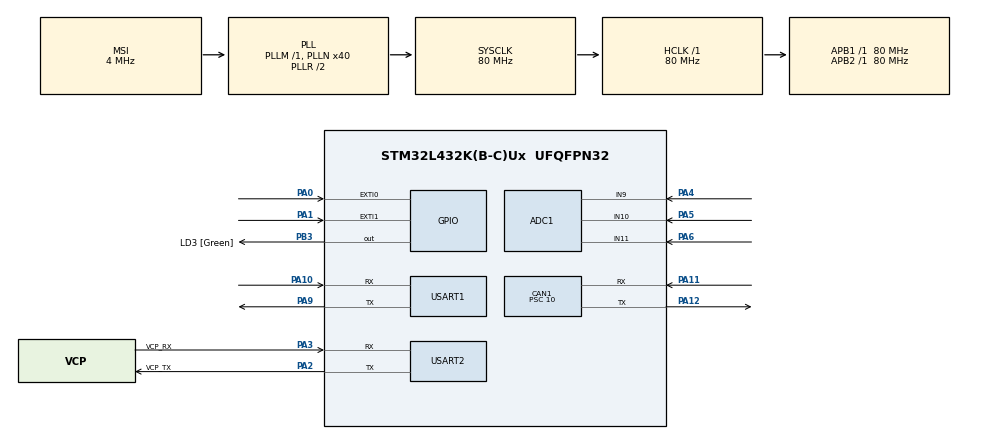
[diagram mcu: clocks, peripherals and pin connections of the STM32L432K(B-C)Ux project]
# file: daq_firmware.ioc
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ADC1.Channel-0\#ChannelRegularConversion=ADC_CHANNEL_9
ADC1.NbrOfConversionFlag=1
ADC1.OffsetNumber-0\#ChannelRegularConversion=ADC_OFFSET_NONE
ADC1.Rank-0\#ChannelRegularConversion=1
ADC1.SamplingTime-0\#ChannelRegularConversion=ADC_SAMPLETIME_2CYCLES_5
ADC1.master=1
CAN1.BS1=CAN_BS1_13TQ
CAN1.BS2=CAN_BS2_2TQ
CAN1.CalculateBaudRate=500000
CAN1.CalculateTimeBit=2000
CAN1.CalculateTimeQuantum=125.0
CAN1.Prescaler=10
FREERTOS.Tasks01=LED_Blink,24,128,LED_BlinkTask,Default,NULL,Static,LED_BlinkBuffer,LED_BlinkControlBlock;CAN_Manager,40,128,CAN_ManagerTask,As external,NULL,Static,CAN_ManagerBuffer,CAN_ManagerControlBlock;Sensor_Manager,40,256,Sensor_ManagerTask,As external,NULL,Static,Sensor_ManagerBuffer,Sensor_ManagerControlBlock;Interrupt_Manager,40,128,Interrupt_ManagerTask,As external,NULL,Static,Interrupt_ManagerBuffer,Interrupt_ManagerControlBlock
FREERTOS.configCHECK_FOR_STACK_OVERFLOW=0
FREERTOS.configMAX_TASK_NAME_LEN=32
FREERTOS.configTOTAL_HEAP_SIZE=3000
Mcu.Family=STM32L4
Mcu.Name=STM32L432K(B-C)Ux
Mcu.Package=UFQFPN32
NVIC.CAN1_RX0_IRQn=true\:5\:0\:false\:false\:true\:true\:true\:true\:true
NVIC.CAN1_RX1_IRQn=true\:5\:0\:false\:false\:true\:true\:true\:true\:true
NVIC.EXTI0_IRQn=true\:5\:0\:true\:false\:true\:true\:true\:true\:true
NVIC.EXTI1_IRQn=true\:5\:0\:true\:false\:true\:true\:true\:true\:true
NVIC.PriorityGroup=NVIC_PRIORITYGROUP_4
NVIC.TIM6_DAC_IRQn=true\:15\:0\:false\:false\:true\:false\:false\:true\:true
NVIC.TimeBase=TIM6_DAC_IRQn
NVIC.TimeBaseIP=TIM6
NVIC.USART1_IRQn=true\:5\:0\:false\:false\:true\:true\:true\:true\:true
PA0.GPIO_ModeDefaultEXTI=GPIO_MODE_IT_FALLING
PA0.Signal=GPXTI0
PA1.GPIO_ModeDefaultEXTI=GPIO_MODE_IT_FALLING
PA1.Signal=GPXTI1
PA10.Mode=Asynchronous
PA10.Signal=USART1_RX
PA11.Mode=CAN_Activate
PA11.Signal=CAN1_RX
PA12.Mode=CAN_Activate
PA12.Signal=CAN1_TX
PA13\ (JTMS-SWDIO).GPIO_Label=SWDIO
PA13\ (JTMS-SWDIO).Mode=Serial_Wire
PA13\ (JTMS-SWDIO).Signal=SYS_JTMS-SWDIO
PA14\ (JTCK-SWCLK).GPIO_Label=SWCLK
PA14\ (JTCK-SWCLK).Mode=Serial_Wire
PA14\ (JTCK-SWCLK).Signal=SYS_JTCK-SWCLK
PA2.GPIO_Label=VCP_TX
PA2.Mode=Asynchronous
PA2.Signal=USART2_TX
PA3.GPIO_Label=VCP_RX
PA3.Mode=Asynchronous
PA3.Signal=USART2_RX
PA4.Signal=ADCx_IN9
PA5.Signal=ADCx_IN10
PA6.Signal=ADCx_IN11
PA9.Mode=Asynchronous
PA9.Signal=USART1_TX
PB3\ (JTDO-TRACESWO).GPIO_Label=LD3 [Green]
PB3\ (JTDO-TRACESWO).Signal=GPIO_Output
PC14-OSC32_IN\ (PC14).Mode=LSE-External-Oscillator
PC14-OSC32_IN\ (PC14).Signal=RCC_OSC32_IN
PC15-OSC32_OUT\ (PC15).Mode=LSE-External-Oscillator
PC15-OSC32_OUT\ (PC15).Signal=RCC_OSC32_OUT
ProjectManager.HeapSize=0x200
ProjectManager.StackSize=0x400
ProjectManager.TargetToolchain=Makefile
RCC.ADCFreq_Value=8000000
RCC.AHBFreq_Value=80000000
RCC.APB1Freq_Value=80000000
RCC.APB1TimFreq_Value=80000000
RCC.APB2Freq_Value=80000000
RCC.APB2TimFreq_Value=80000000
RCC.CortexFreq_Value=80000000
RCC.HCLKFreq_Value=80000000
RCC.HSE_VALUE=8000000
RCC.HSI16_VALUE=16000000
RCC.HSI48_VALUE=48000000
RCC.HSI_VALUE=16000000
RCC.MSI_VALUE=4000000
RCC.PLLMUL=RCC_PLLMUL_4
RCC.PLLN=40
RCC.PLLSAI1N=16
RCC.PLLSAI1R=RCC_PLLR_DIV8
RCC.SYSCLKFreq_VALUE=80000000
RCC.SYSCLKSource=RCC_SYSCLKSOURCE_PLLCLK
RCC.USBFreq_Value=32000000
RCC.VCOOutputFreq_Value=160000000
SH.ADCx_IN10.0=ADC1_IN10,IN10-Single-Ended
SH.ADCx_IN11.0=ADC1_IN11,IN11-Single-Ended
SH.ADCx_IN9.0=ADC1_IN9,IN9-Single-Ended
TIM16.Period=1023
TIM16.Prescaler=2
TIM2.Prescaler=79
USART1.VirtualMode-Asynchronous=VM_ASYNC
USART2.VirtualMode-Asynchronous=VM_ASYNC
VP_FREERTOS_VS_CMSIS_V2.Mode=CMSIS_V2
VP_SYS_VS_tim6.Mode=TIM6
VP_TIM16_VS_ClockSourceINT.Mode=Enable_Timer
VP_TIM2_VS_ClockSourceINT.Mode=Internal
board=NUCLEO-L432KC

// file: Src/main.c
/* USER CODE BEGIN Header */
/**
  ******************************************************************************
  * @file           : main.c
  * @brief          : Main program body
  ******************************************************************************
  * @attention
  *
  * Copyright (c) 2026 STMicroelectronics.
  * All rights reserved.
  *
  * This software is licensed under terms that can be found in the LICENSE file
  * in the root directory of this software component.
  * If no LICENSE file comes with this software, it is provided AS-IS.
  *
  ******************************************************************************
  */
/* USER CODE END Header */
#include "main.h"
#include "cmsis_os.h"

/* USER CODE BEGIN Includes */
#include "managers/can_manager.h"
#include "managers/interrupt_manager.h"
#include "managers/config_manager.h"
#include "managers/pwm_manager.h"
#include "ride_height.h"
/* USER CODE END Includes */

typedef StaticTask_t osStaticThreadDef_t;

ADC_HandleTypeDef hadc1;

CAN_HandleTypeDef hcan1;

TIM_HandleTypeDef htim2;
TIM_HandleTypeDef htim16;

UART_HandleTypeDef huart1;
UART_HandleTypeDef huart2;

/* Definitions for LED_Blink */
osThreadId_t LED_BlinkHandle;
uint32_t LED_BlinkBuffer[ 128 ];
osStaticThreadDef_t LED_BlinkControlBlock;
const osThreadAttr_t LED_Blink_attributes = {
  .name = "LED_Blink",
  .cb_mem = &LED_BlinkControlBlock,
  .cb_size = sizeof(LED_BlinkControlBlock),
  .stack_mem = &LED_BlinkBuffer[0],
  .stack_size = sizeof(LED_BlinkBuffer),
  .priority = (osPriority_t) osPriorityNormal,
};
/* Definitions for CAN_Manager */
osThreadId_t CAN_ManagerHandle;
uint32_t CAN_ManagerBuffer[ 128 ];
osStaticThreadDef_t CAN_ManagerControlBlock;
const osThreadAttr_t CAN_Manager_attributes = {
  .name = "CAN_Manager",
  .cb_mem = &CAN_ManagerControlBlock,
  .cb_size = sizeof(CAN_ManagerControlBlock),
  .stack_mem = &CAN_ManagerBuffer[0],
  .stack_size = sizeof(CAN_ManagerBuffer),
  .priority = (osPriority_t) osPriorityHigh,
};
/* Definitions for Sensor_Manager */
osThreadId_t Sensor_ManagerHandle;
uint32_t Sensor_ManagerBuffer[ 256 ];
osStaticThreadDef_t Sensor_ManagerControlBlock;
const osThreadAttr_t Sensor_Manager_attributes = {
  .name = "Sensor_Manager",
  .cb_mem = &Sensor_ManagerControlBlock,
  .cb_size = sizeof(Sensor_ManagerControlBlock),
  .stack_mem = &Sensor_ManagerBuffer[0],
  .stack_size = sizeof(Sensor_ManagerBuffer),
  .priority = (osPriority_t) osPriorityHigh,
};
/* Definitions for Interrupt_Manager */
osThreadId_t Interrupt_ManagerHandle;
uint32_t Interrupt_ManagerBuffer[ 128 ];
osStaticThreadDef_t Interrupt_ManagerControlBlock;
const osThreadAttr_t Interrupt_Manager_attributes = {
  .name = "Interrupt_Manager",
  .cb_mem = &Interrupt_ManagerControlBlock,
  .cb_size = sizeof(Interrupt_ManagerControlBlock),
  .stack_mem = &Interrupt_ManagerBuffer[0],
  .stack_size = sizeof(Interrupt_ManagerBuffer),
  .priority = (osPriority_t) osPriorityHigh,
};
/* USER CODE BEGIN PV */
/* Definitions for PWM_Manager */
osThreadId_t PWM_ManagerHandle;
uint32_t PWM_ManagerBuffer[ 128 ];
osStaticThreadDef_t PWM_ManagerControlBlock;
const osThreadAttr_t PWM_Manager_attributes = {
  .name = "PWM_Manager",
  .cb_mem = &PWM_ManagerControlBlock,
  .cb_size = sizeof(PWM_ManagerControlBlock),
  .stack_mem = &PWM_ManagerBuffer[0],
  .stack_size = sizeof(PWM_ManagerBuffer),
  .priority = (osPriority_t) osPriorityHigh,
};
/* Definitions for TOF Task */
osThreadId_t rideHeightTaskHandle;
const osThreadAttr_t rideHeightTask_attributes = {
  .name = "rideHeightTask",
  .stack_size = 256 * 4,
  .priority = (osPriority_t) osPriorityNormal,
};
/* USER CODE END PV */

void SystemClock_Config(void);
static void MX_GPIO_Init(void);
static void MX_ADC1_Init(void);
static void MX_CAN1_Init(void);
static void MX_TIM2_Init(void);
static void MX_USART2_UART_Init(void);
static void MX_TIM16_Init(void);
static void MX_USART1_UART_Init(void);
void LED_BlinkTask(void *argument);
extern void CAN_ManagerTask(void *argument);
extern void Sensor_ManagerTask(void *argument);
extern void Interrupt_ManagerTask(void *argument);

/* USER CODE BEGIN PFP */
extern void PWM_ManagerTask(void *argument);
/* USER CODE END PFP */

int main(void)
{

  /* USER CODE BEGIN 1 */
  __disable_irq();

  // Disable SysTick (bootloader might have enabled it)
  SysTick->CTRL = 0;
  SysTick->LOAD = 0;
  SysTick->VAL = 0;

  /* USER CODE END 1 */

  /* MCU Configuration--------------------------------------------------------*/

  /* Reset of all peripherals, Initializes the Flash interface and the Systick. */
  HAL_Init();

  /* Configure the system clock */
  SystemClock_Config();

  /* Initialize all configured peripherals */
  MX_GPIO_Init();
  MX_ADC1_Init();
  MX_CAN1_Init();
  MX_TIM2_Init();
  MX_USART2_UART_Init();
  MX_TIM16_Init();
  MX_USART1_UART_Init();
  /* USER CODE BEGIN 2 */
  HAL_CAN_Start(&hcan1);
  HAL_ADCEx_Calibration_Start(&hadc1, ADC_SINGLE_ENDED);
  HAL_TIM_Base_Start(&htim2);
  /* USER CODE END 2 */

  /* Init scheduler */
  osKernelInitialize();

  /* USER CODE BEGIN RTOS_QUEUES */
  /* add queues, ... */
  Config_Init();
  Interrupt_Manager_Init();
  CAN_Manager_Init();
  RideHeight_Init();

  /* USER CODE END RTOS_QUEUES */

  /* Create the thread(s) */
  /* creation of LED_Blink */
  LED_BlinkHandle = osThreadNew(LED_BlinkTask, NULL, &LED_Blink_attributes);

  /* creation of CAN_Manager */
  CAN_ManagerHandle = osThreadNew(CAN_ManagerTask, NULL, &CAN_Manager_attributes);

  /* creation of Sensor_Manager */
  Sensor_ManagerHandle = osThreadNew(Sensor_ManagerTask, NULL, &Sensor_Manager_attributes);

  /* creation of Interrupt_Manager */
  Interrupt_ManagerHandle = osThreadNew(Interrupt_ManagerTask, NULL, &Interrupt_Manager_attributes);

  /* USER CODE BEGIN RTOS_THREADS */
  /* add threads, ... */
  if (PWM_ACTIVE) {
	  PWM_ManagerHandle = osThreadNew(PWM_ManagerTask, NULL, &PWM_Manager_attributes);
  }

    /* creation of rideHeightTask */
  rideHeightTaskHandle = osThreadNew(RideHeight_Task, NULL, &rideHeightTask_attributes);
  /* USER CODE END RTOS_THREADS */

  /* Start scheduler */
  osKernelStart();

  /* We should never get here as control is now taken by the scheduler */

  /* Infinite loop */
  while (1)
  {

  }
}

void SystemClock_Config(void)
{
  RCC_OscInitTypeDef RCC_OscInitStruct = {0};
  RCC_ClkInitTypeDef RCC_ClkInitStruct = {0};

  /** Configure the main internal regulator output voltage
  */
  if (HAL_PWREx_ControlVoltageScaling(PWR_REGULATOR_VOLTAGE_SCALE1) != HAL_OK)
  {
    Error_Handler();
  }

  /** Configure LSE Drive Capability
  */
  HAL_PWR_EnableBkUpAccess();
  __HAL_RCC_LSEDRIVE_CONFIG(RCC_LSEDRIVE_LOW);

  /** Initializes the RCC Oscillators according to the specified parameters
  * in the RCC_OscInitTypeDef structure.
  */
  RCC_OscInitStruct.OscillatorType = RCC_OSCILLATORTYPE_LSE|RCC_OSCILLATORTYPE_MSI;
  RCC_OscInitStruct.LSEState = RCC_LSE_ON;
  RCC_OscInitStruct.MSIState = RCC_MSI_ON;
  RCC_OscInitStruct.MSICalibrationValue = 0;
  RCC_OscInitStruct.MSIClockRange = RCC_MSIRANGE_6;
  RCC_OscInitStruct.PLL.PLLState = RCC_PLL_ON;
  RCC_OscInitStruct.PLL.PLLSource = RCC_PLLSOURCE_MSI;
  RCC_OscInitStruct.PLL.PLLM = 1;
  RCC_OscInitStruct.PLL.PLLN = 40;
  RCC_OscInitStruct.PLL.PLLP = RCC_PLLP_DIV7;
  RCC_OscInitStruct.PLL.PLLQ = RCC_PLLQ_DIV2;
  RCC_OscInitStruct.PLL.PLLR = RCC_PLLR_DIV2;
  if (HAL_RCC_OscConfig(&RCC_OscInitStruct) != HAL_OK)
  {
    Error_Handler();
  }

  /** Initializes the CPU, AHB and APB buses clocks
  */
  RCC_ClkInitStruct.ClockType = RCC_CLOCKTYPE_HCLK|RCC_CLOCKTYPE_SYSCLK
                              |RCC_CLOCKTYPE_PCLK1|RCC_CLOCKTYPE_PCLK2;
  RCC_ClkInitStruct.SYSCLKSource = RCC_SYSCLKSOURCE_PLLCLK;
  RCC_ClkInitStruct.AHBCLKDivider = RCC_SYSCLK_DIV1;
  RCC_ClkInitStruct.APB1CLKDivider = RCC_HCLK_DIV1;
  RCC_ClkInitStruct.APB2CLKDivider = RCC_HCLK_DIV1;

  if (HAL_RCC_ClockConfig(&RCC_ClkInitStruct, FLASH_LATENCY_4) != HAL_OK)
  {
    Error_Handler();
  }

  /** Enable MSI Auto calibration
  */
  HAL_RCCEx_EnableMSIPLLMode();
}

static void MX_ADC1_Init(void)
{

  ADC_ChannelConfTypeDef sConfig = {0};

  /** Common config
  */
  hadc1.Instance = ADC1;
  hadc1.Init.ClockPrescaler = ADC_CLOCK_ASYNC_DIV1;
  hadc1.Init.Resolution = ADC_RESOLUTION_12B;
  hadc1.Init.DataAlign = ADC_DATAALIGN_RIGHT;
  hadc1.Init.ScanConvMode = ADC_SCAN_DISABLE;
  hadc1.Init.EOCSelection = ADC_EOC_SINGLE_CONV;
  hadc1.Init.LowPowerAutoWait = DISABLE;
  hadc1.Init.ContinuousConvMode = DISABLE;
  hadc1.Init.NbrOfConversion = 1;
  hadc1.Init.DiscontinuousConvMode = DISABLE;
  hadc1.Init.ExternalTrigConv = ADC_SOFTWARE_START;
  hadc1.Init.ExternalTrigConvEdge = ADC_EXTERNALTRIGCONVEDGE_NONE;
  hadc1.Init.DMAContinuousRequests = DISABLE;
  hadc1.Init.Overrun = ADC_OVR_DATA_PRESERVED;
  hadc1.Init.OversamplingMode = DISABLE;
  if (HAL_ADC_Init(&hadc1) != HAL_OK)
  {
    Error_Handler();
  }

  /** Configure Regular Channel
  */
  sConfig.Channel = ADC_CHANNEL_9;
  sConfig.Rank = ADC_REGULAR_RANK_1;
  sConfig.SamplingTime = ADC_SAMPLETIME_2CYCLES_5;
  sConfig.SingleDiff = ADC_SINGLE_ENDED;
  sConfig.OffsetNumber = ADC_OFFSET_NONE;
  sConfig.Offset = 0;
  if (HAL_ADC_ConfigChannel(&hadc1, &sConfig) != HAL_OK)
  {
    Error_Handler();
  }

}

static void MX_CAN1_Init(void)
{

  hcan1.Instance = CAN1;
  hcan1.Init.Prescaler = 10;
  hcan1.Init.Mode = CAN_MODE_NORMAL;
  hcan1.Init.SyncJumpWidth = CAN_SJW_1TQ;
  hcan1.Init.TimeSeg1 = CAN_BS1_13TQ;
  hcan1.Init.TimeSeg2 = CAN_BS2_2TQ;
  hcan1.Init.TimeTriggeredMode = DISABLE;
  hcan1.Init.AutoBusOff = DISABLE;
  hcan1.Init.AutoWakeUp = DISABLE;
  hcan1.Init.AutoRetransmission = DISABLE;
  hcan1.Init.ReceiveFifoLocked = DISABLE;
  hcan1.Init.TransmitFifoPriority = DISABLE;
  if (HAL_CAN_Init(&hcan1) != HAL_OK)
  {
    Error_Handler();
  }
  /* USER CODE BEGIN CAN1_Init 2 */
  CAN_FilterTypeDef filterConfig;
  filterConfig.FilterBank = 0;
  filterConfig.FilterMode = CAN_FILTERMODE_IDMASK;
  filterConfig.FilterScale = CAN_FILTERSCALE_32BIT;

  // Filter format: 29-bit ID followed by IDE bit (= 1 for extended ID), RTR bit (= 0 for data frame), and reserved bit (= 0)
  // Mask = 1 for bits we want to match, 0 for don't cares
  filterConfig.FilterIdHigh = ((0x0D0000C0 << 3 | 0x04) >> 16) & 0xFFFF;
  filterConfig.FilterIdLow = (0x0D0000C0 << 3 | 0x04) & 0xFFFF;
  filterConfig.FilterMaskIdHigh = ((0x0F0000F0 << 3 | 0x04) >> 16) & 0xFFFF;
  filterConfig.FilterMaskIdLow = (0x0F0000F0 << 3 | 0x04) & 0xFFFF;

  filterConfig.FilterFIFOAssignment = CAN_RX_FIFO0;
  filterConfig.FilterActivation = ENABLE;
  filterConfig.SlaveStartFilterBank = 14;

  if (HAL_CAN_ConfigFilter(&hcan1, &filterConfig) != HAL_OK)
  {
	  Error_Handler();
  }
  /* USER CODE END CAN1_Init 2 */

}

static void MX_TIM2_Init(void)
{

  TIM_ClockConfigTypeDef sClockSourceConfig = {0};
  TIM_MasterConfigTypeDef sMasterConfig = {0};

  htim2.Instance = TIM2;
  htim2.Init.Prescaler = 79;
  htim2.Init.CounterMode = TIM_COUNTERMODE_UP;
  htim2.Init.Period = 4294967295;
  htim2.Init.ClockDivision = TIM_CLOCKDIVISION_DIV1;
  htim2.Init.AutoReloadPreload = TIM_AUTORELOAD_PRELOAD_DISABLE;
  if (HAL_TIM_Base_Init(&htim2) != HAL_OK)
  {
    Error_Handler();
  }
  sClockSourceConfig.ClockSource = TIM_CLOCKSOURCE_INTERNAL;
  if (HAL_TIM_ConfigClockSource(&htim2, &sClockSourceConfig) != HAL_OK)
  {
    Error_Handler();
  }
  sMasterConfig.MasterOutputTrigger = TIM_TRGO_RESET;
  sMasterConfig.MasterSlaveMode = TIM_MASTERSLAVEMODE_DISABLE;
  if (HAL_TIMEx_MasterConfigSynchronization(&htim2, &sMasterConfig) != HAL_OK)
  {
    Error_Handler();
  }

}

static void MX_TIM16_Init(void)
{

  htim16.Instance = TIM16;
  htim16.Init.Prescaler = 2;
  htim16.Init.CounterMode = TIM_COUNTERMODE_UP;
  htim16.Init.Period = 1023;
  htim16.Init.ClockDivision = TIM_CLOCKDIVISION_DIV1;
  htim16.Init.RepetitionCounter = 0;
  htim16.Init.AutoReloadPreload = TIM_AUTORELOAD_PRELOAD_DISABLE;
  if (HAL_TIM_Base_Init(&htim16) != HAL_OK)
  {
    Error_Handler();
  }

}

static void MX_USART1_UART_Init(void)
{

  huart1.Instance = USART1;
  huart1.Init.BaudRate = 115200;
  huart1.Init.WordLength = UART_WORDLENGTH_8B;
  huart1.Init.StopBits = UART_STOPBITS_1;
  huart1.Init.Parity = UART_PARITY_NONE;
  huart1.Init.Mode = UART_MODE_TX_RX;
  huart1.Init.HwFlowCtl = UART_HWCONTROL_NONE;
  huart1.Init.OverSampling = UART_OVERSAMPLING_16;
  huart1.Init.OneBitSampling = UART_ONE_BIT_SAMPLE_DISABLE;
  huart1.AdvancedInit.AdvFeatureInit = UART_ADVFEATURE_NO_INIT;
  if (HAL_UART_Init(&huart1) != HAL_OK)
  {
    Error_Handler();
  }

}

static void MX_USART2_UART_Init(void)
{

  huart2.Instance = USART2;
  huart2.Init.BaudRate = 115200;
  huart2.Init.WordLength = UART_WORDLENGTH_8B;
  huart2.Init.StopBits = UART_STOPBITS_1;
  huart2.Init.Parity = UART_PARITY_NONE;
  huart2.Init.Mode = UART_MODE_TX_RX;
  huart2.Init.HwFlowCtl = UART_HWCONTROL_NONE;
  huart2.Init.OverSampling = UART_OVERSAMPLING_16;
  huart2.Init.OneBitSampling = UART_ONE_BIT_SAMPLE_DISABLE;
  huart2.AdvancedInit.AdvFeatureInit = UART_ADVFEATURE_NO_INIT;
  if (HAL_UART_Init(&huart2) != HAL_OK)
  {
    Error_Handler();
  }

}

static void MX_GPIO_Init(void)
{
  GPIO_InitTypeDef GPIO_InitStruct = {0};

  /* GPIO Ports Clock Enable */
  __HAL_RCC_GPIOC_CLK_ENABLE();
  __HAL_RCC_GPIOA_CLK_ENABLE();
  __HAL_RCC_GPIOB_CLK_ENABLE();

  /*Configure GPIO pin Output Level */
  HAL_GPIO_WritePin(LD3_GPIO_Port, LD3_Pin, GPIO_PIN_RESET);

  /*Configure GPIO pins : PA0 PA1 */
  GPIO_InitStruct.Pin = GPIO_PIN_0|GPIO_PIN_1;
  GPIO_InitStruct.Mode = GPIO_MODE_IT_FALLING;
  GPIO_InitStruct.Pull = GPIO_NOPULL;
  HAL_GPIO_Init(GPIOA, &GPIO_InitStruct);

  /*Configure GPIO pin : LD3_Pin */
  GPIO_InitStruct.Pin = LD3_Pin;
  GPIO_InitStruct.Mode = GPIO_MODE_OUTPUT_PP;
  GPIO_InitStruct.Pull = GPIO_NOPULL;
  GPIO_InitStruct.Speed = GPIO_SPEED_FREQ_LOW;
  HAL_GPIO_Init(LD3_GPIO_Port, &GPIO_InitStruct);

  /* EXTI interrupt init*/
  HAL_NVIC_SetPriority(EXTI0_IRQn, 5, 0);
  HAL_NVIC_EnableIRQ(EXTI0_IRQn);

  HAL_NVIC_SetPriority(EXTI1_IRQn, 5, 0);
  HAL_NVIC_EnableIRQ(EXTI1_IRQn);

}

/* USER CODE BEGIN 4 */
int __io_putchar(int ch)
{
  HAL_UART_Transmit(&huart2, (uint8_t *)&ch, 1, HAL_MAX_DELAY);
  return ch;
}
/* USER CODE END 4 */

void LED_BlinkTask(void *argument)
{
  /* USER CODE BEGIN 5 */
  /* Infinite loop */
  for(;;)
  {
	  HAL_GPIO_TogglePin(LD3_GPIO_Port, LD3_Pin);
	  osDelay(50);
  }
  /* USER CODE END 5 */
}

void HAL_TIM_PeriodElapsedCallback(TIM_HandleTypeDef *htim)
{
  if (htim->Instance == TIM6)
  {
    HAL_IncTick();
  }
}

void Error_Handler(void)
{
  __disable_irq();
  while (1)
  {
  }
}
